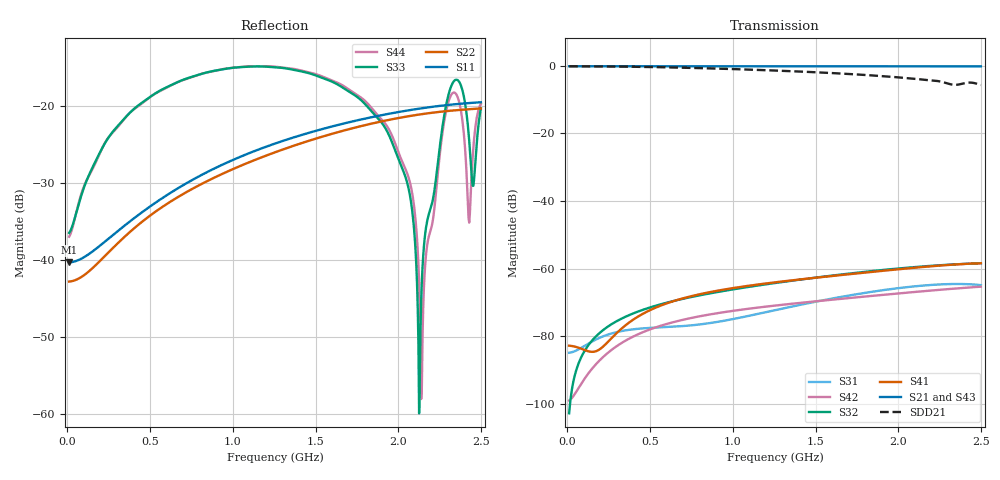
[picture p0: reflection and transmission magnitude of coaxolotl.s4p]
! openEMS-z2labs kicad_sim, coaxolotl.kicad_pcb
! ports: 1=U8 (F.Cu over In1.Cu), 2=R21 (F.Cu over In1.Cu), 3=R21 (F.Cu over In1.Cu), 4=U11 (F.Cu over In1.Cu)
! stackup: fab:JLCPCB:JLC04161H-7628
! copper: sheet, mask: False
# Hz S RI R 50
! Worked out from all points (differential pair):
!   601 points, 10 MHz to 2.5 GHz, reference 50 ohm
!   strongest paths, dB at 10 MHz, 632.5 MHz, 1.255 GHz, 1.877 GHz, 2.5 GHz:
!     S21: -0.1, -0.1, -0.1, -0.1, -0.1
!     S43: -0.1, -0.2, -0.3, -0.2, -0.1
!     S41: -82.8, -69.8, -64.1, -60.8, -58.4
!     S32: -102.8, -69.7, -64.3, -60.6, -58.4
!     S42: -99.1, -76.0, -71.0, -67.9, -65.3
!     S31: -84.9, -77.2, -72.3, -66.6, -64.9
!   taken as a pair (ports 1,3 in; 2,4 out), SDD21 dB: -0.1, -0.5, -1.4, -2.9, -5.7
!   lowest |S11| = -40.3 dB at 10 MHz (marker M1), VSWR 1.02, Z = 49 + j0.0482 ohm
!   |S11| at or under -10 dB: start of sweep to end of sweep
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1e7  -0.00966 0.000491  0.9892 -0.00834  -5.07e-07 -2.47e-06  -5.1e-07 4.88e-06
     0.9893 -0.00834  -0.00726 0.000339  -2.03e-06 6.49e-06  -9.67e-07 -2.02e-06
     5.64e-05 -6.5e-06  -4.16e-06 5.88e-06  -0.0149 0.00248  0.9861 -0.0175
     7.22e-05 -7.65e-08  -1.1e-05 -1.85e-06  0.9843 -0.0165  -0.0141 0.00206
1.49985e9  0.0444 0.0532  0.2863 -0.9464  -0.000251 -0.000156  -0.000314 -0.000669
           0.2861 -0.9464  0.0616 -0.00285  9.14e-05 0.000724  -0.000219 0.000275
           -0.000281 -0.00016  9.47e-05 0.000729  0.1042 -0.1204  -0.7654 -0.5915
           -0.000316 -0.00066  -0.000203 0.000257  -0.7663 -0.5921  0.1044 -0.1244
1.97295e9  0.0817 0.0396  -0.1075 -0.981  -0.00048 -6.16e-06  -0.000966 2.82e-05
           -0.1078 -0.9808  0.0726 -0.0402  0.000174 0.000973  1.72e-05 0.000453
           -0.000503 -1.83e-05  0.000171 0.000974  -0.00303 -0.0547  -0.9719 0.1322
           -0.000962 1.09e-05  1.38e-05 0.000422  -0.9707 0.1337  -0.0111 -0.0597
2.1431e9  0.0933 0.0275  -0.2471 -0.9541  -0.000498 0.000125  -0.00093 0.000461
          -0.2473 -0.9538  0.0706 -0.0544  0.00023 0.00104  0.00015 0.000467
          -0.000549 0.000106  0.000218 0.00105  0.00386 0.00621  -0.8905 0.4142
          -0.000953 0.000447  0.000132 0.000441  -0.8877 0.4126  0.000334 0.00149
2.29665e9  0.1012 0.0133  -0.3676 -0.9132  -0.000427 0.00025  -0.000689 0.000828
           -0.3678 -0.9128  0.0662 -0.0658  0.000287 0.00105  0.000272 0.000406
           -0.000537 0.000242  0.000265 0.00111  0.07 0.0854  -0.7058 0.6564
           -0.000755 0.00084  0.000249 0.000429  -0.703 0.6512  0.0872 0.0501
2.42945e9  0.1052 -0.000828  -0.4663 -0.8666  -0.00047 0.000249  -0.000525 0.00104
           -0.4665 -0.8661  0.0612 -0.0739  0.000262 0.00121  0.000367 0.000503
           -0.00047 0.000352  0.000303 0.00114  0.0494 -0.0337  -0.6587 0.6942
           -0.000434 0.0011  0.000351 0.00039  -0.6527 0.689  -0.0175 0.00142
2.5e9  0.106 -0.00874  -0.5167 -0.8381  -0.000397 0.000345  -0.000272 0.00116
       -0.5168 -0.8376  0.0584 -0.0775  0.000347 0.00117  0.000461 0.000395
       -0.000411 0.000393  0.000319 0.00116  0.0727 0.0649  -0.5165 0.8364
       -0.000218 0.00118  0.000403 0.00036  -0.525 0.8424  0.0814 0.064
